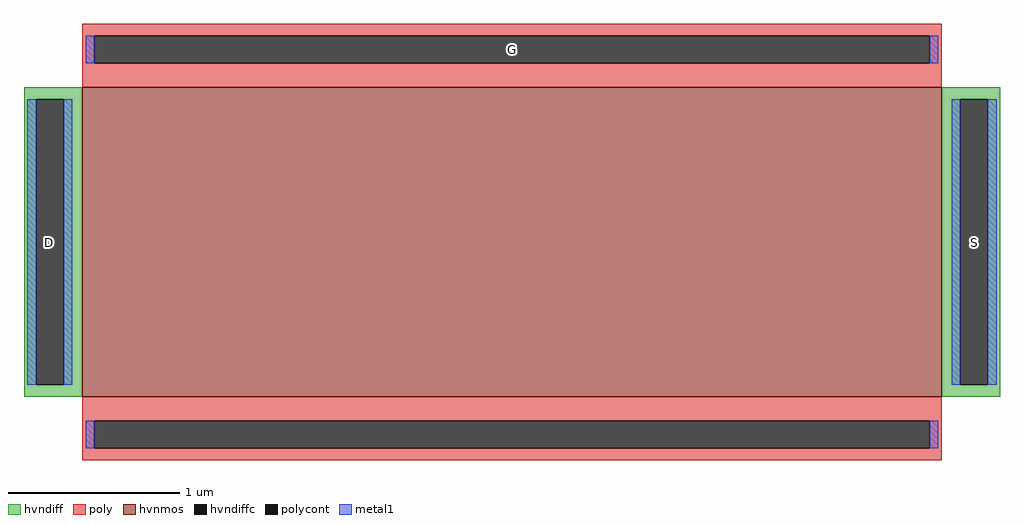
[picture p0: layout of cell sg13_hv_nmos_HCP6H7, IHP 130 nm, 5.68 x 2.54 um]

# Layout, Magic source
magic
tech ihp-sg13cmos5l
<< hvnmos >>
rect -250 -90 250 90
<< hvndiff >>
rect -284 83 -250 90
rect -284 -83 -277 83
rect -261 -83 -250 83
rect -284 -90 -250 -83
rect 250 83 284 90
rect 250 -83 261 83
rect 277 -83 284 83
rect 250 -90 284 -83
<< hvndiffc >>
rect -277 -83 -261 83
rect 261 -83 277 83
<< poly >>
rect -250 120 250 127
rect -250 104 -243 120
rect 243 104 250 120
rect -250 90 250 104
rect -250 -104 250 -90
rect -250 -120 -243 -104
rect 243 -120 250 -104
rect -250 -127 250 -120
<< polycont >>
rect -243 104 243 120
rect -243 -120 243 -104
<< metal1 >>
rect -248 104 -243 120
rect 243 104 248 120
rect -282 -83 -277 83
rect -261 -83 -256 83
rect 256 -83 261 83
rect 277 -83 282 83
rect -248 -120 -243 -104
rect 243 -120 248 -104
<< labels >>
rlabel hvndiffc -269 0 -269 0 0 D
port 10 nsew
rlabel hvndiffc 269 0 269 0 0 S
port 11 nsew
rlabel polycont 0 112 0 112 0 G
port 12 nsew
<< properties >>
string gencell sg13_hv_nmos
string library sg13cmos5l
string parameters w 1.795 l 5.0 m 1 ng 1 diffcov 100 polycov 100 guard 0 glc 1 grc 1 gtc 1 gbc 1 tbcov 100 rlcov 100 topc 1 botc 1 poverlap 0 doverlap 1 lmin 0.45 wmin 0.15 class mosfet compatible {sg13_lv_nmos sg13_hv_nmos} full_metal 1 conn_gates 0 gate_ring 0 doports 1 viasrc 0 viadrn 0 viagate 0 ccols 1 viagb 0 viagr 0 viagl 0 viagt 0
<< end >>
